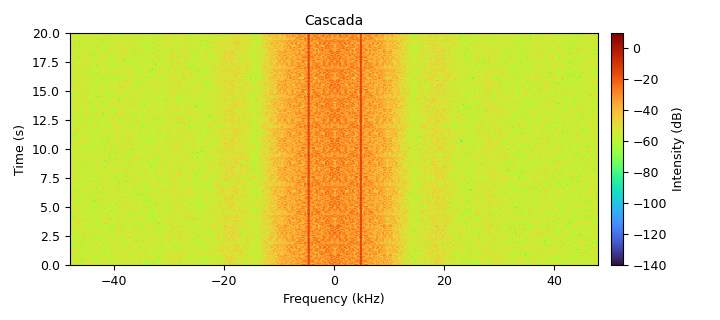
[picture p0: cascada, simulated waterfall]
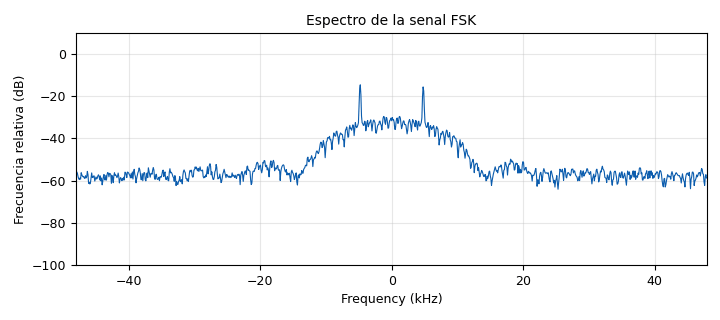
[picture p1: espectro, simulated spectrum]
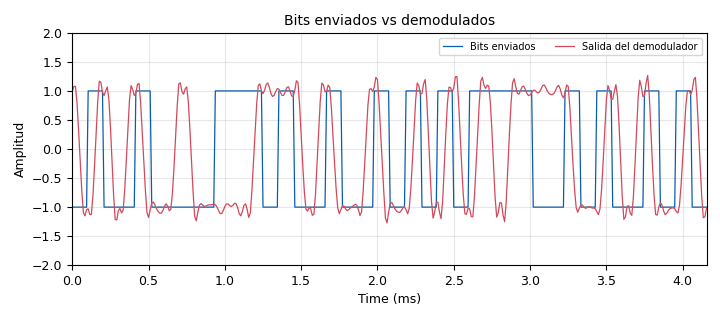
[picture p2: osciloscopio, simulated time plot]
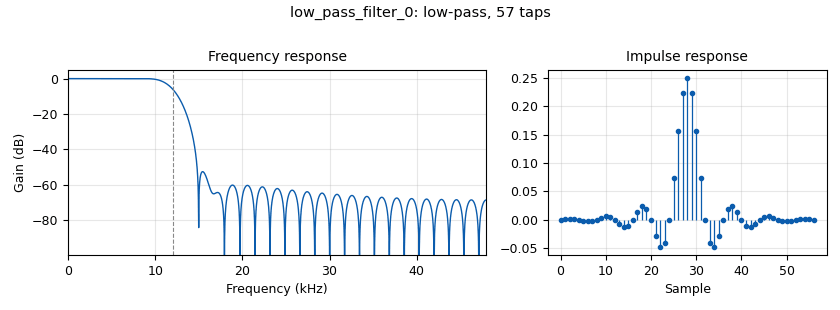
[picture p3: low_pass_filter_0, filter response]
options:
  parameters:
    author: Alejandro Berna Mogica
    description: 'Simulacion 2-FSK 9,6 kbit/s: modulador, canal con ruido y demodulador'
    generate_options: qt_gui
    id: fsk_simulado
    output_language: python
    title: 01 - FSK simulado (telemetria 868)
  states: {}

blocks:
- name: baud
  id: variable
  parameters:
    comment: Velocidad binaria (bit/s)
    value: '9600'
  states: {}
- name: desviacion
  id: variable
  parameters:
    comment: Desviacion de frecuencia FSK (Hz)
    value: '4800'
  states: {}
- name: ruido
  id: variable_qtgui_range
  parameters:
    gui_hint: 0,0,1,2
    label: Tension de ruido
    start: '0'
    step: '0.01'
    stop: '2'
    value: '0.1'
  states: {}
- name: samp_rate
  id: variable
  parameters:
    comment: Frecuencia de muestreo (muestras/s)
    value: '96000'
  states: {}
- name: sps
  id: variable
  parameters:
    comment: Muestras por bit
    value: int(samp_rate/baud)
  states: {}
- name: a_float
  id: blocks_char_to_float
  parameters:
    scale: '1'
  states: {}
- name: bits_aleatorios
  id: analog_random_source_x
  parameters:
    comment: Bits aleatorios 0/1 (simulan la telemetria)
    max: '2'
    min: '0'
    num_samps: '1000'
    repeat: 'True'
    type: byte
  states: {}
- name: canal
  id: channels_channel_model
  parameters:
    comment: Canal con ruido blanco gaussiano
    epsilon: '1.0'
    freq_offset: '0.0'
    noise_voltage: ruido
    seed: '0'
    taps: '1.0'
  states: {}
- name: cascada
  id: qtgui_waterfall_sink_x
  parameters:
    bw: samp_rate
    fc: '0'
    fftsize: '1024'
    gui_hint: 1,1,1,1
    name: '"Cascada"'
    type: complex
  states: {}
- name: demodulador_fsk
  id: analog_quadrature_demod_cf
  parameters:
    comment: Frecuencia instantanea -> +-1
    gain: samp_rate/(2*math.pi*desviacion)
  states: {}
- name: espectro
  id: qtgui_freq_sink_x
  parameters:
    average: '0.2'
    bw: samp_rate
    fc: '0'
    fftsize: '1024'
    grid: 'True'
    gui_hint: 1,0,1,1
    label: Frecuencia relativa
    name: '"Espectro de la senal FSK"'
    type: complex
    ymin: '-100'
  states: {}
- name: import_math
  id: import
  parameters:
    imports: import math
  states: {}
- name: low_pass_filter_0
  id: low_pass_filter
  parameters:
    cutoff_freq: '12000'
    decim: '1'
    gain: '1'
    samp_rate: samp_rate
    type: fir_filter_ccf
    width: '4000'
    win: window.WIN_HAMMING
  states: {}
- name: menos_uno
  id: blocks_add_const_vxx
  parameters:
    comment: 0/1 -> -1/+1
    const: '-1'
    type: float
  states: {}
- name: modulador_fsk
  id: analog_frequency_modulator_fc
  parameters:
    comment: +1 -> +desviacion Hz, -1 -> -desviacion Hz
    sensitivity: 2*math.pi*desviacion/samp_rate
  states: {}
- name: osciloscopio
  id: qtgui_time_sink_x
  parameters:
    gui_hint: 2,0,1,2
    label1: Bits enviados
    label2: Salida del demodulador
    name: '"Bits enviados vs demodulados"'
    nconnections: '2'
    size: '400'
    srate: samp_rate
    type: float
    ylabel: Amplitud
    ymax: '2'
    ymin: '-2'
  states: {}
- name: por_dos
  id: blocks_multiply_const_vxx
  parameters:
    const: '2'
    type: float
  states: {}
- name: repetir
  id: blocks_repeat
  parameters:
    comment: Cada bit dura sps muestras
    interp: sps
    type: float
  states: {}
- name: throttle
  id: blocks_throttle2
  parameters:
    comment: Limita la velocidad (no hay hardware)
    samples_per_second: samp_rate
    type: complex
  states: {}
- name: throttle_ref
  id: blocks_throttle2
  parameters:
    comment: Referencia de bits al mismo ritmo
    samples_per_second: samp_rate
    type: float
  states: {}

connections:
- [a_float, '0', por_dos, '0']
- [bits_aleatorios, '0', a_float, '0']
- [canal, '0', throttle, '0']
- [demodulador_fsk, '0', osciloscopio, '1']
- [low_pass_filter_0, '0', demodulador_fsk, '0']
- [menos_uno, '0', repetir, '0']
- [modulador_fsk, '0', canal, '0']
- [por_dos, '0', menos_uno, '0']
- [repetir, '0', modulador_fsk, '0']
- [repetir, '0', throttle_ref, '0']
- [throttle, '0', cascada, '0']
- [throttle, '0', espectro, '0']
- [throttle, '0', low_pass_filter_0, '0']
- [throttle_ref, '0', osciloscopio, '0']

metadata:
  file_format: 1
  grc_version: 3.10.12.0
